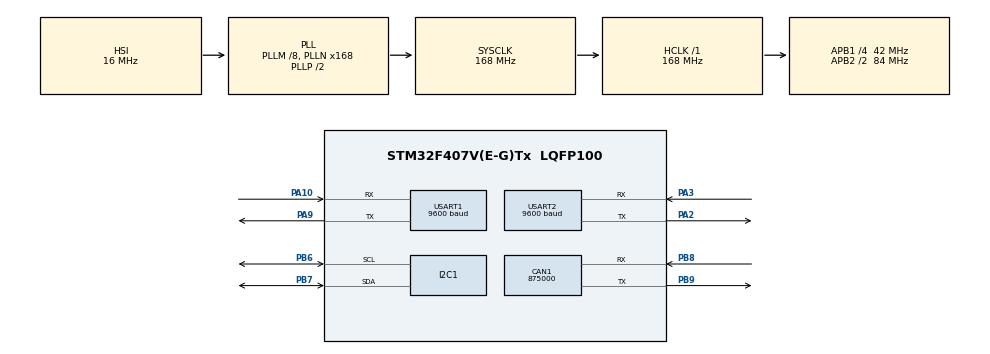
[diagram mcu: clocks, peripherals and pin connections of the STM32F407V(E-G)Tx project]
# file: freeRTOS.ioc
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CAN1.CalculateBaudRate=875000
CAN1.CalculateTimeBit=1142
CAN1.CalculateTimeQuantum=380.95238095238096
FREERTOS.Tasks01=defaultTask,0,128,StartDefaultTask,Default,NULL,Dynamic,NULL,NULL
FREERTOS.configUSE_NEWLIB_REENTRANT=1
Mcu.Family=STM32F4
Mcu.Name=STM32F407V(E-G)Tx
Mcu.Package=LQFP100
NVIC.CAN1_RX0_IRQn=true\:5\:0\:false\:false\:true\:true\:true\:true\:true
NVIC.PriorityGroup=NVIC_PRIORITYGROUP_4
NVIC.USART1_IRQn=true\:5\:0\:false\:false\:true\:true\:true\:true\:true
NVIC.USART2_IRQn=true\:5\:0\:false\:false\:true\:true\:true\:true\:true
PA10.Mode=Asynchronous
PA10.Signal=USART1_RX
PA2.Mode=Asynchronous
PA2.Signal=USART2_TX
PA3.Mode=Asynchronous
PA3.Signal=USART2_RX
PA9.Mode=Asynchronous
PA9.Signal=USART1_TX
PB6.Mode=I2C
PB6.Signal=I2C1_SCL
PB7.Mode=I2C
PB7.Signal=I2C1_SDA
PB8.Mode=CAN_Activate
PB8.Signal=CAN1_RX
PB9.Mode=CAN_Activate
PB9.Signal=CAN1_TX
ProjectManager.HeapSize=0x200
ProjectManager.StackSize=0x400
ProjectManager.TargetToolchain=STM32CubeIDE
RCC.48MHZClocksFreq_Value=48000000
RCC.AHBFreq_Value=168000000
RCC.APB1CLKDivider=RCC_HCLK_DIV4
RCC.APB1Freq_Value=42000000
RCC.APB1TimFreq_Value=84000000
RCC.APB2CLKDivider=RCC_HCLK_DIV2
RCC.APB2Freq_Value=84000000
RCC.APB2TimFreq_Value=168000000
RCC.CortexFreq_Value=168000000
RCC.HCLKFreq_Value=168000000
RCC.HSE_VALUE=8000000
RCC.HSI_VALUE=16000000
RCC.LSE_VALUE=32768
RCC.PLLM=8
RCC.PLLN=168
RCC.PLLQ=7
RCC.SYSCLKFreq_VALUE=168000000
RCC.SYSCLKSource=RCC_SYSCLKSOURCE_PLLCLK
RCC.VCOOutputFreq_Value=336000000
USART1.BaudRate=9600
USART1.VirtualMode=VM_ASYNC
USART2.BaudRate=9600
USART2.VirtualMode=VM_ASYNC
VP_FREERTOS_VS_CMSIS_V1.Mode=CMSIS_V1
board=STM32F407G-DISC1

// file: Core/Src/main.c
/* USER CODE BEGIN Header */
/**
  ******************************************************************************
  * @file           : main.c
  * @brief          : Main program body
  ******************************************************************************
  * @attention
  *
  * Copyright (c) 2026 STMicroelectronics.
  * All rights reserved.
  *
  * This software is licensed under terms that can be found in the LICENSE file
  * in the root directory of this software component.
  * If no LICENSE file comes with this software, it is provided AS-IS.
  *
  ******************************************************************************
  */
/* USER CODE END Header */
#include "main.h"

/* USER CODE BEGIN Includes */
#include "FreeRTOS.h"
#include "task.h"
#include "queue.h"
#include "semphr.h"
#include "can.h"
#include "i2c.h"
#include "usart.h"
#include "lcd.h"
#include "gsm.h"
#include <string.h>
#include <stdlib.h>
#include <stdio.h>
/* USER CODE END Includes */

/* USER CODE BEGIN PD */
#define ACCEL_THRESHOLD        8000    /* raw LSB, ~0.5g on +-2g range; tune to your sensor mount */
#define ACCEL_DEBOUNCE_COUNT   3       /* consecutive over-threshold samples required */
#define GSM_ALERT_NUMBER       "+918080190968"
#define GSM_RETRY_COOLDOWN_MS  15000

/* ---- GPRS / HTTP telemetry config ---- */
#define GSM_APN                      "your.apn.here"   /* <-- set to your carrier's APN */
#define TELEMETRY_URL                "http://your-server-ip:5000/api/telemetry"
#define TELEMETRY_RETRY_COOLDOWN_MS  2000               /* min gap between POSTs */
/* USER CODE END PD */

CAN_HandleTypeDef hcan1;

I2C_HandleTypeDef hi2c1;

UART_HandleTypeDef huart1;
UART_HandleTypeDef huart2;

/* NOTE: no defaultTaskHandle / CMSIS-OS2 defaultTask here -- this
 * project uses ONLY the raw FreeRTOS API (xTaskCreate / vTaskStartScheduler).
 * Mixing that with osKernelStart() would mean the CMSIS-OS2 layer's
 * scheduler start is dead code (vTaskStartScheduler() below never
 * returns), so it has been removed entirely rather than left unreachable. */

/* USER CODE BEGIN PV */
typedef struct {
    uint8_t accident;
} AccidentStatus_t;

typedef struct {
    float   latitude;
    float   longitude;
    uint8_t valid;
} GpsData_t;

/* Event pushed to TelemetryTask - just the accident flag; TelemetryTask
   fetches its own fresh GPS snapshot at send time so the payload always
   reflects the latest fix rather than whatever fix existed the moment
   the accident fired. */
typedef struct {
    uint8_t accident;
} DashboardEvent_t;

CAN_TxHeaderTypeDef TxHeader;
CAN_RxHeaderTypeDef RxHeader;
uint32_t TxMailbox;
uint8_t  TxData[1];
uint8_t  RxData[8];

uint8_t  gps_rx;
char     gps_buffer[160];
volatile uint16_t gps_index = 0;
volatile uint8_t  gps_sentence_ready = 0;
char     gps_sentence_copy[160];

GpsData_t gpsData = {0};

/* ---------------- RTOS handles (raw FreeRTOS API) ---------------- */
QueueHandle_t alertQueueHandle;   /* fused local+CAN accident events -> AlertTask (routing only) */
QueueHandle_t gsmQueueHandle;     /* accident events that should trigger an SMS */
QueueHandle_t uiQueueHandle;      /* accident events that should be POSTed to the dashboard server */
SemaphoreHandle_t gpsMutexHandle;

TaskHandle_t sensorTaskHandle;
TaskHandle_t alertTaskHandle;
TaskHandle_t gpsTaskHandle;
TaskHandle_t gsmTaskHandle;
TaskHandle_t telemetryTaskHandle;
/* USER CODE END PV */

void SystemClock_Config(void);

/* USER CODE BEGIN PFP */
void SensorTask(void *argument);
void AlertTask(void *argument);
void GPSTask(void *argument);
void GSMTask(void *argument);
void TelemetryTask(void *argument);

/* ---------------- NMEA helpers ---------------- */
static uint8_t GPS_ParseGGA(const char *sentence, GpsData_t *out);
static float   GPS_ToDecimalDegrees(const char *raw, char hemisphere);
/* USER CODE END PFP */

int main(void)
{

  /* MCU Configuration--------------------------------------------------------*/

  /* Reset of all peripherals, Initializes the Flash interface and the Systick. */
  HAL_Init();

  /* Configure the system clock */
  SystemClock_Config();

  /* Initialize all configured peripherals */
  MX_GPIO_Init();
  MX_CAN1_Init();
  MX_I2C1_Init();
  MX_USART1_UART_Init();
  MX_USART2_UART_Init();
  /* USER CODE BEGIN 2 */
  lcd_init();
  GSM_Init();
  GSM_HTTPInit(GSM_APN);   /* bring up GPRS bearer once at boot -- FIXED (was GSM_HTTPPost) */

  /* --- CAN filter: accept all (adjust if you have multiple node types) --- */
  CAN_FilterTypeDef filter = {0};
  filter.FilterBank = 0;
  filter.FilterMode = CAN_FILTERMODE_IDMASK;
  filter.FilterScale = CAN_FILTERSCALE_32BIT;
  filter.FilterIdHigh = 0;
  filter.FilterIdLow = 0;
  filter.FilterMaskIdHigh = 0;
  filter.FilterMaskIdLow = 0;
  filter.FilterFIFOAssignment = CAN_RX_FIFO0;
  filter.FilterActivation = ENABLE;
  HAL_CAN_ConfigFilter(&hcan1, &filter);

  TxHeader.StdId = 0x100;
  TxHeader.IDE   = CAN_ID_STD;
  TxHeader.RTR   = CAN_RTR_DATA;
  TxHeader.DLC   = 1;

  HAL_CAN_Start(&hcan1);
  HAL_CAN_ActivateNotification(&hcan1, CAN_IT_RX_FIFO0_MSG_PENDING);

  HAL_UART_Receive_IT(&huart1, &gps_rx, 1);
  /* USER CODE END 2 */

  /* USER CODE BEGIN RTOS_MUTEX */
  /* add mutexes, ... */
  gpsMutexHandle = xSemaphoreCreateMutex();
  /* USER CODE END RTOS_MUTEX */

  /* USER CODE BEGIN RTOS_QUEUES */
  /* add queues, ... */
  alertQueueHandle = xQueueCreate(8, sizeof(AccidentStatus_t));
  gsmQueueHandle   = xQueueCreate(4, sizeof(AccidentStatus_t));
  uiQueueHandle    = xQueueCreate(8, sizeof(DashboardEvent_t));
  /* USER CODE END RTOS_QUEUES */

  /* NOTE: CMSIS-OS2 defaultTask (osThreadDef/osThreadCreate) removed.
   * This project uses the raw FreeRTOS API exclusively -- see
   * USER CODE BEGIN RTOS_THREADS below. */

  /* USER CODE BEGIN RTOS_THREADS */
  /* add threads, ... */
  xTaskCreate(SensorTask,    "SensorTask",    640,  NULL, tskIDLE_PRIORITY + 3, &sensorTaskHandle);
  xTaskCreate(AlertTask,     "AlertTask",     512,  NULL, tskIDLE_PRIORITY + 2, &alertTaskHandle);
  xTaskCreate(GPSTask,       "GPSTask",       1024, NULL, tskIDLE_PRIORITY + 1, &gpsTaskHandle);
  xTaskCreate(GSMTask,       "GSMTask",       1024, NULL, tskIDLE_PRIORITY + 2, &gsmTaskHandle);
  xTaskCreate(TelemetryTask, "TelemetryTask", 1024, NULL, tskIDLE_PRIORITY + 1, &telemetryTaskHandle);
  /* USER CODE END RTOS_THREADS */

  /* Start scheduler -- SINGLE call. This never returns; the old
   * osKernelStart() call that used to follow this has been removed
   * since it was unreachable dead code. */
  vTaskStartScheduler();

  /* We should never get here as control is now taken by the scheduler */

  /* Infinite loop */
  while (1)
  {

  }
}

void SystemClock_Config(void)
{
  RCC_OscInitTypeDef RCC_OscInitStruct = {0};
  RCC_ClkInitTypeDef RCC_ClkInitStruct = {0};

  /** Configure the main internal regulator output voltage
  */
  __HAL_RCC_PWR_CLK_ENABLE();
  __HAL_PWR_VOLTAGESCALING_CONFIG(PWR_REGULATOR_VOLTAGE_SCALE1);

  /** Initializes the RCC Oscillators according to the specified parameters
  * in the RCC_OscInitTypeDef structure.
  */
  RCC_OscInitStruct.OscillatorType = RCC_OSCILLATORTYPE_HSI;
  RCC_OscInitStruct.HSIState = RCC_HSI_ON;
  RCC_OscInitStruct.HSICalibrationValue = RCC_HSICALIBRATION_DEFAULT;
  RCC_OscInitStruct.PLL.PLLState = RCC_PLL_ON;
  RCC_OscInitStruct.PLL.PLLSource = RCC_PLLSOURCE_HSI;
  RCC_OscInitStruct.PLL.PLLM = 8;
  RCC_OscInitStruct.PLL.PLLN = 168;
  RCC_OscInitStruct.PLL.PLLP = RCC_PLLP_DIV2;
  RCC_OscInitStruct.PLL.PLLQ = 7;
  if (HAL_RCC_OscConfig(&RCC_OscInitStruct) != HAL_OK)
  {
    Error_Handler();
  }

  /** Initializes the CPU, AHB and APB buses clocks
  */
  RCC_ClkInitStruct.ClockType = RCC_CLOCKTYPE_HCLK|RCC_CLOCKTYPE_SYSCLK
                              |RCC_CLOCKTYPE_PCLK1|RCC_CLOCKTYPE_PCLK2;
  RCC_ClkInitStruct.SYSCLKSource = RCC_SYSCLKSOURCE_PLLCLK;
  RCC_ClkInitStruct.AHBCLKDivider = RCC_SYSCLK_DIV1;
  RCC_ClkInitStruct.APB1CLKDivider = RCC_HCLK_DIV4;
  RCC_ClkInitStruct.APB2CLKDivider = RCC_HCLK_DIV2;

  if (HAL_RCC_ClockConfig(&RCC_ClkInitStruct, FLASH_LATENCY_5) != HAL_OK)
  {
    Error_Handler();
  }
}

void MX_CAN1_Init(void)
{

  hcan1.Instance = CAN1;
  hcan1.Init.Prescaler = 16;
  hcan1.Init.Mode = CAN_MODE_NORMAL;
  hcan1.Init.SyncJumpWidth = CAN_SJW_1TQ;
  hcan1.Init.TimeSeg1 = CAN_BS1_1TQ;
  hcan1.Init.TimeSeg2 = CAN_BS2_1TQ;
  hcan1.Init.TimeTriggeredMode = DISABLE;
  hcan1.Init.AutoBusOff = DISABLE;
  hcan1.Init.AutoWakeUp = DISABLE;
  hcan1.Init.AutoRetransmission = DISABLE;
  hcan1.Init.ReceiveFifoLocked = DISABLE;
  hcan1.Init.TransmitFifoPriority = DISABLE;
  if (HAL_CAN_Init(&hcan1) != HAL_OK)
  {
    Error_Handler();
  }
}

void MX_I2C1_Init(void)
{

  hi2c1.Instance = I2C1;
  hi2c1.Init.ClockSpeed = 100000;
  hi2c1.Init.DutyCycle = I2C_DUTYCYCLE_2;
  hi2c1.Init.OwnAddress1 = 0;
  hi2c1.Init.AddressingMode = I2C_ADDRESSINGMODE_7BIT;
  hi2c1.Init.DualAddressMode = I2C_DUALADDRESS_DISABLE;
  hi2c1.Init.OwnAddress2 = 0;
  hi2c1.Init.GeneralCallMode = I2C_GENERALCALL_DISABLE;
  hi2c1.Init.NoStretchMode = I2C_NOSTRETCH_DISABLE;
  if (HAL_I2C_Init(&hi2c1) != HAL_OK)
  {
    Error_Handler();
  }
}

void MX_USART1_UART_Init(void)
{

  huart1.Instance = USART1;
  huart1.Init.BaudRate = 9600;
  huart1.Init.WordLength = UART_WORDLENGTH_8B;
  huart1.Init.StopBits = UART_STOPBITS_1;
  huart1.Init.Parity = UART_PARITY_NONE;
  huart1.Init.Mode = UART_MODE_TX_RX;
  huart1.Init.HwFlowCtl = UART_HWCONTROL_NONE;
  huart1.Init.OverSampling = UART_OVERSAMPLING_16;
  if (HAL_UART_Init(&huart1) != HAL_OK)
  {
    Error_Handler();
  }
}

void MX_USART2_UART_Init(void)
{

  huart2.Instance = USART2;
  huart2.Init.BaudRate = 9600;
  huart2.Init.WordLength = UART_WORDLENGTH_8B;
  huart2.Init.StopBits = UART_STOPBITS_1;
  huart2.Init.Parity = UART_PARITY_NONE;
  huart2.Init.Mode = UART_MODE_TX_RX;
  huart2.Init.HwFlowCtl = UART_HWCONTROL_NONE;
  huart2.Init.OverSampling = UART_OVERSAMPLING_16;
  if (HAL_UART_Init(&huart2) != HAL_OK)
  {
    Error_Handler();
  }
}

void MX_GPIO_Init(void)
{

  /* GPIO Ports Clock Enable */
  __HAL_RCC_GPIOA_CLK_ENABLE();
  __HAL_RCC_GPIOB_CLK_ENABLE();

}

/* USER CODE BEGIN 4 */
void SensorTask(void *argument)
{
    uint8_t raw[6];
    uint8_t wake = 0;
    uint8_t overThresholdCount = 0;
    AccidentStatus_t msg;

    HAL_I2C_Mem_Write(&hi2c1, 0x68 << 1, 0x6B,
                       I2C_MEMADD_SIZE_8BIT, &wake, 1, 100);

    for (;;)
    {
        if (HAL_I2C_Mem_Read(&hi2c1, 0x68 << 1, 0x3B,
                              I2C_MEMADD_SIZE_8BIT, raw, 6, 100) == HAL_OK)
        {
            int16_t ax = (int16_t)((raw[0] << 8) | raw[1]);
            int16_t ay = (int16_t)((raw[2] << 8) | raw[3]);
            int16_t az = (int16_t)((raw[4] << 8) | raw[5]);

            uint8_t overThreshold =
                (abs(ax) > ACCEL_THRESHOLD ||
                 abs(ay) > ACCEL_THRESHOLD ||
                 abs(az) > ACCEL_THRESHOLD) ? 1 : 0;

            overThresholdCount = overThreshold ? (overThresholdCount + 1) : 0;

            if (overThresholdCount >= ACCEL_DEBOUNCE_COUNT)
            {
                overThresholdCount = 0;
                msg.accident = 1;

                TxData[0] = 1;
                HAL_CAN_AddTxMessage(&hcan1, &TxHeader, TxData, &TxMailbox);

                xQueueSend(alertQueueHandle, &msg, 0);
            }
        }
        vTaskDelay(pdMS_TO_TICKS(50));
    }
}

/* =====================================================================
 * CAN Rx callback (ISR context)
 * =====================================================================
 */
void HAL_CAN_RxFifo0MsgPendingCallback(CAN_HandleTypeDef *hcan)
{
    AccidentStatus_t msg;
    BaseType_t xHigherPriorityTaskWoken = pdFALSE;

    if (HAL_CAN_GetRxMessage(hcan, CAN_RX_FIFO0, &RxHeader, RxData) == HAL_OK)
    {
        msg.accident = RxData[0] ? 1 : 0;
        if (msg.accident)
        {
            xQueueSendFromISR(alertQueueHandle, &msg, &xHigherPriorityTaskWoken);
        }
    }

    portYIELD_FROM_ISR(xHigherPriorityTaskWoken);
}

/* =====================================================================
 * AlertTask - single consumer of the fused alert queue. Updates the LCD
 * and fans the event out to BOTH the GSM task (SMS) and the telemetry
 * task (HTTP POST to Flask).
 * =====================================================================
 */
void AlertTask(void *argument)
{
    AccidentStatus_t msg;
    DashboardEvent_t dash;

    for (;;)
    {
        if (xQueueReceive(alertQueueHandle, &msg, portMAX_DELAY) == pdPASS)
        {
            lcd_clear();
            lcd_puts(LCD_LINE2, msg.accident ? "ACCIDENT" : "SAFE");

            if (msg.accident)
            {
                xQueueSend(gsmQueueHandle, &msg, 0);

                dash.accident = msg.accident;
                xQueueSend(uiQueueHandle, &dash, 0);
            }
        }
    }
}

/* =====================================================================
 * GPSTask
 * =====================================================================
 */
void GPSTask(void *argument)
{
    GpsData_t parsed;

    for (;;)
    {
        if (gps_sentence_ready)
        {
            taskENTER_CRITICAL();
            strncpy(gps_sentence_copy, gps_buffer, sizeof(gps_sentence_copy) - 1);
            gps_sentence_copy[sizeof(gps_sentence_copy) - 1] = '\0';
            gps_sentence_ready = 0;
            taskEXIT_CRITICAL();

            if (strncmp(gps_sentence_copy, "$GPGGA", 6) == 0)
            {
                if (GPS_ParseGGA(gps_sentence_copy, &parsed))
                {
                    xSemaphoreTake(gpsMutexHandle, portMAX_DELAY);
                    gpsData = parsed;
                    xSemaphoreGive(gpsMutexHandle);
                }
            }
        }
        vTaskDelay(pdMS_TO_TICKS(100));
    }
}

static uint8_t GPS_ParseGGA(const char *sentence, GpsData_t *out)
{
    char copy[160];
    strncpy(copy, sentence, sizeof(copy) - 1);
    copy[sizeof(copy) - 1] = '\0';

    char *field[7] = {0};
    char *tok = strtok(copy, ",");
    for (int i = 0; i < 7 && tok != NULL; i++)
    {
        field[i] = tok;
        tok = strtok(NULL, ",");
    }
    if (!field[2] || !field[3] || !field[4] || !field[5] || !field[6])
        return 0;
    if (field[6][0] == '0')
        return 0;

    out->latitude  = GPS_ToDecimalDegrees(field[2], field[3][0]);
    out->longitude = GPS_ToDecimalDegrees(field[4], field[5][0]);
    out->valid = 1;
    return 1;
}

static float GPS_ToDecimalDegrees(const char *raw, char hemisphere)
{
    float value = atof(raw);
    int degrees = (int)(value / 100);
    float minutes = value - (degrees * 100);
    float decimal = degrees + (minutes / 60.0f);

    if (hemisphere == 'S' || hemisphere == 'W')
        decimal = -decimal;

    return decimal;
}

/* =====================================================================
 * GSMTask - sends the SMS, including GPS coordinates if we have a fix.
 * =====================================================================
 */
void GSMTask(void *argument)
{
    AccidentStatus_t msg;
    char text[140];
    GpsData_t gpsSnapshot;

    for (;;)
    {
        if (xQueueReceive(gsmQueueHandle, &msg, portMAX_DELAY) == pdPASS)
        {
            if (msg.accident)
            {
                xSemaphoreTake(gpsMutexHandle, portMAX_DELAY);
                gpsSnapshot = gpsData;
                xSemaphoreGive(gpsMutexHandle);

                if (gpsSnapshot.valid)
                {
                    snprintf(text, sizeof(text),
                             "ACCIDENT DETECTED! Location: https://maps.google.com/?q=%.6f,%.6f",
                             gpsSnapshot.latitude, gpsSnapshot.longitude);
                }
                else
                {
                    snprintf(text, sizeof(text),
                             "ACCIDENT DETECTED! GPS fix not available yet.");
                }

                GSM_SendSMS(GSM_ALERT_NUMBER, text);
                vTaskDelay(pdMS_TO_TICKS(GSM_RETRY_COOLDOWN_MS));
            }
        }
    }
}

/* =====================================================================
 * TelemetryTask - consumes uiQueueHandle and POSTs a JSON payload to
 * your Flask app (app.py -> /api/telemetry -> db.py) over the GSM
 * module's GPRS/HTTP AT stack. Also keeps a local LCD readout as a
 * cheap backup display since the LCD is otherwise idle.
 *
 * NOTE: GSM_HTTPPost() shares huart2 with GSM_SendSMS(). Both tasks
 * touch the same UART, so if you see interleaved/corrupted AT traffic
 * under load, wrap huart2 access in its own mutex (gsmUartMutexHandle)
 * and take/give it inside GSM_SendSMS() and GSM_HTTPPost().
 * =====================================================================
 */
void TelemetryTask(void *argument)
{
    DashboardEvent_t evt;
    GpsData_t gpsSnapshot;
    char json[192];

    for (;;)
    {
        if (xQueueReceive(uiQueueHandle, &evt, portMAX_DELAY) == pdPASS)
        {
            xSemaphoreTake(gpsMutexHandle, portMAX_DELAY);
            gpsSnapshot = gpsData;
            xSemaphoreGive(gpsMutexHandle);

            if (gpsSnapshot.valid)
            {
                snprintf(json, sizeof(json),  "{\"accident\":%d,\"lat\":%.6f,\"lon\":%.6f,\"fix\":true}", evt.accident, gpsSnapshot.latitude, gpsSnapshot.longitude);
            }
            else
            {
                snprintf(json, sizeof(json),
                         "{\"accident\":%d,\"lat\":null,\"lon\":null,\"fix\":false}",
                         evt.accident);
            }

            GSM_HTTPPost(TELEMETRY_URL, json);

            lcd_clear();
            lcd_puts(LCD_LINE1, evt.accident ? "ACCIDENT" : "SAFE");
            lcd_puts(LCD_LINE2, gpsSnapshot.valid ? "GPS OK - SENT" : "NO FIX - SENT");

            vTaskDelay(pdMS_TO_TICKS(TELEMETRY_RETRY_COOLDOWN_MS));
        }
    }
}

/* =====================================================================
 * GPS UART Rx interrupt
 * =====================================================================
 */
void HAL_UART_RxCpltCallback(UART_HandleTypeDef *huart)
{
    if (huart->Instance == USART1)
    {
        if (gps_rx == '\r')
        {
            /* ignore CR, wait for LF to terminate the sentence */
        }
        else if (gps_rx == '\n')
        {
            gps_buffer[gps_index] = '\0';
            gps_index = 0;
            gps_sentence_ready = 1;
        }
        else if (gps_index < sizeof(gps_buffer) - 1)
        {
            gps_buffer[gps_index++] = gps_rx;
        }
        else
        {
            gps_index = 0;
        }

        HAL_UART_Receive_IT(&huart1, &gps_rx, 1);
    }
}
/* USER CODE END 4 */

void Error_Handler(void)
{
  __disable_irq();
  while (1)
  {
  }
}
